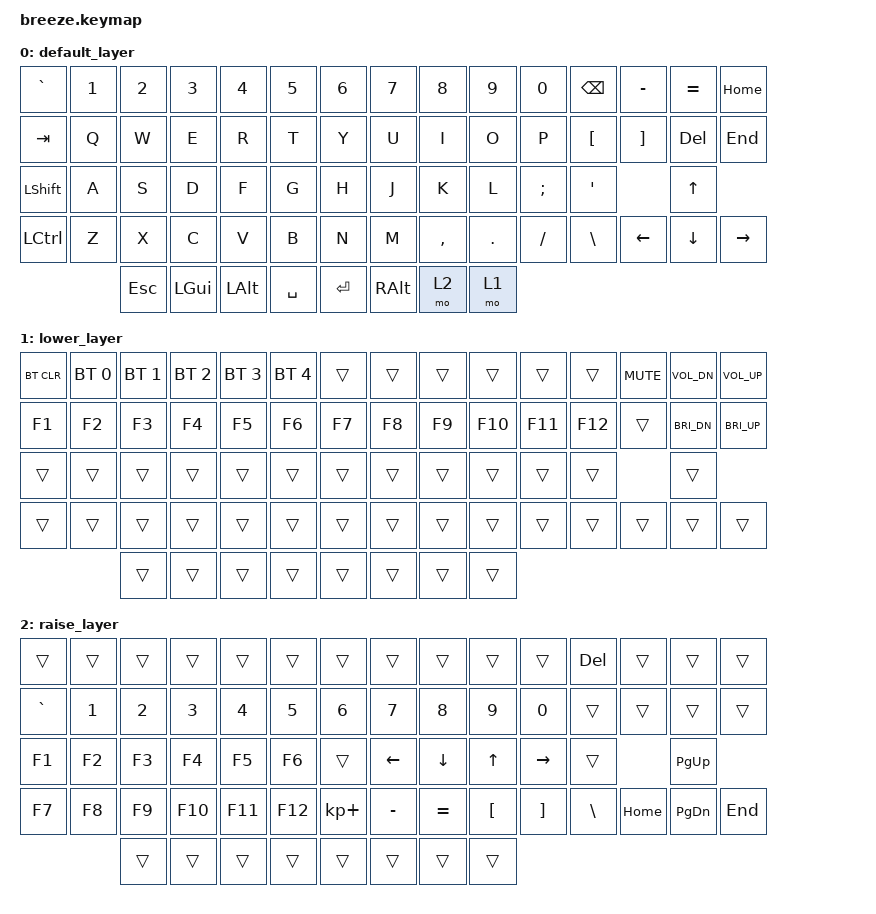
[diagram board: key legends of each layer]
/*
 * Copyright (c) 2022 The ZMK Contributors
 *
 * SPDX-License-Identifier: MIT
 */

#include <behaviors.dtsi>
#include <dt-bindings/zmk/keys.h>
#include <dt-bindings/zmk/bt.h>
#include <dt-bindings/zmk/outputs.h>
#include <dt-bindings/zmk/ext_power.h>

/ {
    keymap {
        // Ref: https://zmkfirmware.dev/docs/codes/
        compatible = "zmk,keymap";

        default_layer {
            // ------------------------------------------                  --------------------------------------------------------------------
            // |   `   |  1  |  2  |  3   |  4   |  5   |                  |  6   |  7    |  8    |  9   |   0   | BSPC | | -/_ | =/+  | HOME |
            // |  TAB  |  Q  |  W  |  E   |  R   |  T   |                  |  Y   |  U    |  I    |  O   |   P   |  [   | |  ]  | DEL  | END  |
            // | SHIFT |  A  |  S  |  D   |  F   |  G   |                  |  H   |  J    |  K    |  L   |   ;   |  '   | |     |  UP  |      |
            // |  CTRL |  Z  |  X  |  C   |  V   |  B   |--------  --------|  N   |  M    |  ,    |  .   |   /   |  \   | |  L  |  DN  |  R   |
            // --------------------| ESC  | GUI  | ALT  | SPACE |  | ENTER | RALT | RAISE | LOWER |--------------------------------------------
            //                     ------------------------------  --------------------------------
            bindings = <
                &kp GRAVE  &kp N1  &kp N2 &kp N3  &kp N4   &kp N5               &kp N6   &kp N7   &kp N8    &kp N9  &kp N0   &kp BSPC   &kp MINUS &kp EQUAL &kp HOME
                &kp TAB    &kp Q   &kp W  &kp E   &kp R    &kp T                &kp Y    &kp U    &kp I     &kp O   &kp P    &kp LBKT   &kp RBKT  &kp DEL   &kp END
                &kp LSHFT  &kp A   &kp S  &kp D   &kp F    &kp G                &kp H    &kp J    &kp K     &kp L   &kp SEMI &kp APOS             &kp UP 
                &kp LCTRL  &kp Z   &kp X  &kp C   &kp V    &kp B                &kp N    &kp M    &kp COMMA &kp DOT &kp FSLH &kp BSLH   &kp LEFT  &kp DOWN  &kp RIGHT
                                   &kp ESC &kp LGUI &kp LALT &kp SPACE  &kp RET &kp RALT &mo 2    &mo 1
            >;
        };

        lower_layer {
            // -----------------------------------------------                    -----------------------------------------------------------------------
            // | BTCLR |  BT1  |  BT2  |  BT3  |  BT4 |  BT5 |                    |      |       |       |       |       |       | | Mute | Vol- | Vol+ | 
            // |  F1   |  F2   |  F3   |  F4   |  F5  |  F6  |                    |  F7  |  F8   |  F9   |  F10  |  F11  |  F12  | |      | SCR- | SCR+ | 
            // |       |       |       |       |      |      |                    |      |       |       |       |       |       | |      |      |      | 
            // |       |       |       |       |      |      |---------  ---------|      |       |       |       |       |       | |      |      |      | 
            // ------------------------|       |      |      |        |  |        |      |       |       |-----------------------------------------------
            //                         --------------------------------  ---------------------------------
            bindings = <
                &bt BT_CLR  &bt BT_SEL 0  &bt BT_SEL 1  &bt BT_SEL 2  &bt BT_SEL 3  &bt BT_SEL 4                  &trans  &trans  &trans  &trans   &trans   &trans   &kp C_MUTE  &kp C_VOL_DN  &kp C_VOL_UP 
                &kp F1      &kp F2        &kp F3        &kp F4        &kp F5        &kp F6                        &kp F7  &kp F8  &kp F9  &kp F10  &kp F11  &kp F12  &trans      &kp C_BRI_DN  &kp C_BRI_UP 
                &trans      &trans        &trans        &trans        &trans        &trans                        &trans  &trans  &trans  &trans   &trans   &trans               &trans 
                &trans      &trans        &trans        &trans        &trans        &trans                        &trans  &trans  &trans  &trans   &trans   &trans   &trans      &trans        &trans 
                                                        &trans        &trans        &trans       &trans   &trans  &trans  &trans  &trans           
            >;
        };

        raise_layer {
            // -------------------------------------------                    --------------------------------------------------------------------- 
            // |      |      |      |      |      |      |                    |      |       |       |      |       |  DEL  | |      |      |     | 
            // |  `   |  1   |  2   |  3   |  4   |  5   |                    |  6   |   7   |   8   |  9   |   0   |       | |      |      |     | 
            // |  F1  |  F2  |  F3  |  F4  |  F5  |  F6  |                    |      |   <-  |   v   |  ^   |  ->   |       | |      | PGUP |     | 
            // |  F7  |  F8  |  F9  |  F10 |  F11 |  F12 |---------  ---------|  +   |   -   |   =   |  [   |   ]   |   \   | | HOME | PGDN | END | 
            // ---------------------|      |      |      |        |  |        |      |       |       |---------------------------------------------
            //                      -------------------------------  ---------------------------------
            bindings = <
                &trans     &trans   &trans  &trans   &trans   &trans                    &trans       &trans     &trans     &trans    &trans     &kp DEL  &trans    &trans     &trans 
                &kp GRAVE  &kp N1   &kp N2  &kp N3   &kp N4   &kp N5                    &kp N6       &kp N7     &kp N8     &kp N9    &kp N0     &trans   &trans    &trans     &trans 
                &kp F1     &kp F2   &kp F3  &kp F4   &kp F5   &kp F6                    &trans       &kp LEFT   &kp DOWN   &kp UP    &kp RIGHT  &trans             &kp PG_UP     
                &kp F7     &kp F8   &kp F9  &kp F10  &kp F11  &kp F12                   &kp KP_PLUS  &kp MINUS  &kp EQUAL  &kp LBKT  &kp RBKT   &kp BSLH &kp HOME  &kp PG_DN  &kp END 
                                            &trans   &trans   &trans   &trans   &trans  &trans       &trans     &trans
            >;
        };
    };
};
